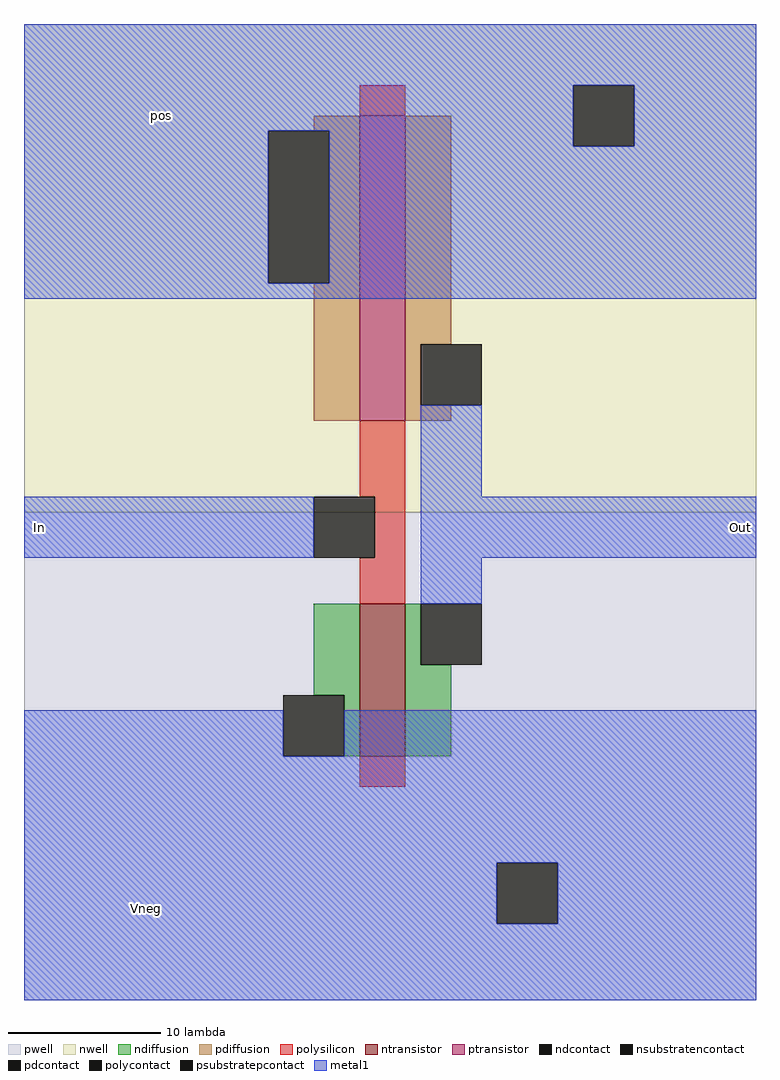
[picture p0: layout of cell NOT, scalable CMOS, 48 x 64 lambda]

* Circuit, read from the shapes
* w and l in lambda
.subckt NOT In Out Vneg pos
M1 Out In Vneg Vneg nfet w=10 l=3
M2 Out In pos pos pfet w=20 l=3
.ends

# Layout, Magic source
magic
tech scmos
<< nwell >>
rect -5 9 43 41
<< pwell >>
rect -5 -23 43 9
<< ntransistor >>
rect 17 -7 20 3
<< ptransistor >>
rect 17 15 20 35
<< ndiffusion >>
rect 14 -3 17 3
rect 16 -7 17 -3
rect 20 -1 21 3
rect 20 -7 23 -1
<< pdiffusion >>
rect 14 34 17 35
rect 15 24 17 34
rect 14 15 17 24
rect 20 20 23 35
rect 20 16 21 20
rect 20 15 23 16
<< ndcontact >>
rect 12 -7 16 -3
rect 21 -1 25 3
<< pdcontact >>
rect 11 24 15 34
rect 21 16 25 20
<< psubstratepcontact >>
rect 26 -18 30 -14
<< nsubstratencontact >>
rect 31 33 35 37
<< polysilicon >>
rect 17 35 20 37
rect 17 10 20 15
rect 18 6 20 10
rect 17 3 20 6
rect 17 -9 20 -7
<< polycontact >>
rect 14 6 18 10
<< metal1 >>
rect -5 37 43 41
rect -5 34 31 37
rect -5 24 11 34
rect 15 33 31 34
rect 35 33 43 37
rect 15 24 43 33
rect -5 23 43 24
rect 21 10 25 16
rect -5 6 14 10
rect 21 6 43 10
rect 21 3 25 6
rect -5 -7 12 -4
rect 16 -7 43 -4
rect -5 -14 43 -7
rect -5 -18 26 -14
rect 30 -18 43 -14
rect -5 -23 43 -18
<< labels >>
rlabel metal1 -4 8 -4 8 3 In
rlabel metal1 42 8 42 8 7 Out
rlabel metal1 3 -17 3 -17 1 Vneg
rlabel metal1 4 35 4 35 1 pos
<< end >>
